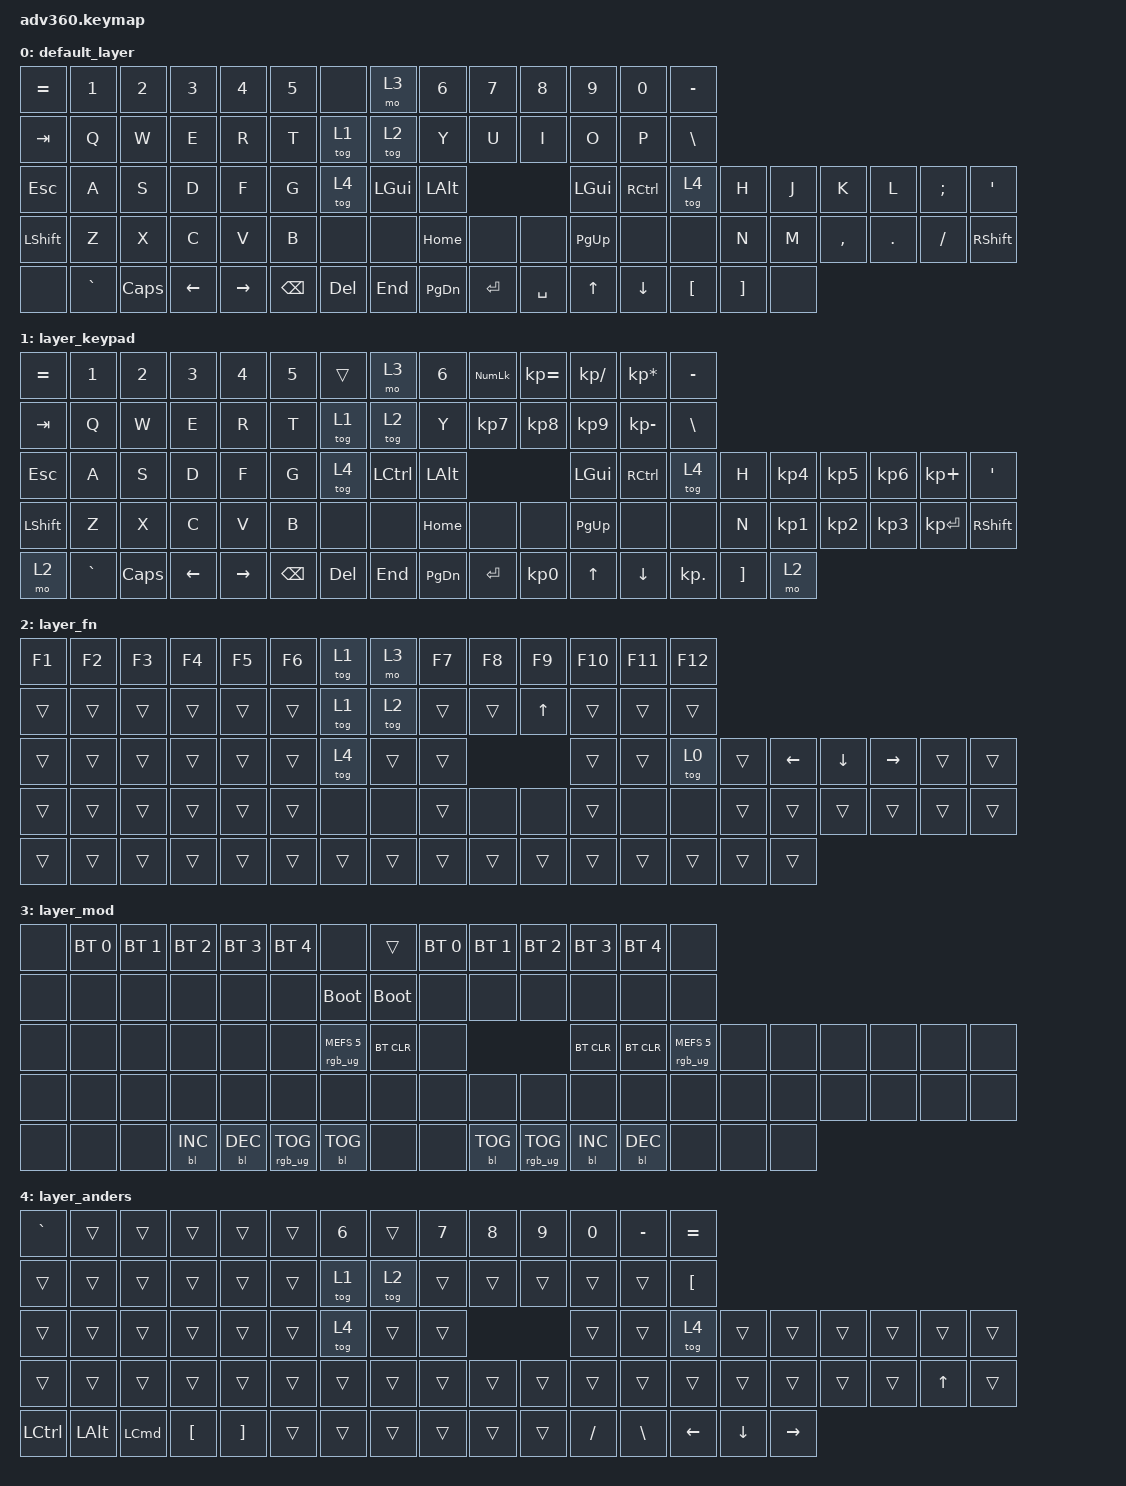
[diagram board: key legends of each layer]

/*
 * Copyright (c) 2020 The ZMK Contributors
 *
 * SPDX-License-Identifier: MIT
 */


/* THIS FILE WAS GENERATED!
 *
 * This file was generated automatically. You may or may not want to
 * edit it directly.
 */

#include <behaviors.dtsi>
#include <dt-bindings/zmk/keys.h>
#include <dt-bindings/zmk/bt.h>
#include <dt-bindings/zmk/rgb.h>
#include <dt-bindings/zmk/backlight.h>

/ {
  behaviors {
    #include "macros.dtsi"

    hm: homerow_mods {
        compatible = "zmk,behavior-hold-tap";
        label = "HOMEROW_MODS";
        #binding-cells = <2>;
        tapping-term-ms = <200>;
        quick_tap_ms = <175>;
        flavor = "tap-preferred";
        bindings = <&kp>, <&kp>;
    };
  };

    keymap {
        compatible = "zmk,keymap";


        default_layer {
            bindings = <
 &kp EQUAL     &kp N1    &kp N2    &kp N3     &kp N4         &kp N5                 &none     &mo 3     &kp N6     &kp N7     &kp N8     &kp N9     &kp N0  &kp MINUS
   &kp TAB      &kp Q     &kp W     &kp E      &kp R          &kp T                &tog 1    &tog 2      &kp Y      &kp U      &kp I      &kp O      &kp P   &kp BSLH
   &kp ESC      &kp A     &kp S     &kp D      &kp F          &kp G                &tog 4  &kp LGUI   &kp LALT                         &kp LGUI  &kp RCTRL     &tog 4     &kp H   &kp J      &kp K    &kp L  &kp SEMI    &kp SQT
 &kp LSHFT      &kp Z     &kp X     &kp C      &kp V          &kp B                 &none     &none   &kp HOME      &none      &none  &kp PG_UP      &none      &none     &kp N   &kp M  &kp COMMA  &kp DOT  &kp FSLH  &kp RSHFT
     &none  &kp GRAVE  &kp CAPS  &kp LEFT  &kp RIGHT  &kp BACKSPACE            &kp DELETE   &kp END  &kp PG_DN  &kp ENTER  &kp SPACE     &kp UP   &kp DOWN   &kp LBKT  &kp RBKT   &none
            >;
        };

        layer_keypad {
            bindings = <
 &kp EQUAL     &kp N1    &kp N2    &kp N3     &kp N4    &kp N5             &trans      &mo 3     &kp N6  &kp KP_NUM  &kp KP_EQUAL  &kp KP_DIVIDE  &kp KP_MULTIPLY   &kp MINUS
   &kp TAB      &kp Q     &kp W     &kp E      &kp R     &kp T             &tog 1     &tog 2      &kp Y   &kp KP_N7     &kp KP_N8      &kp KP_N9     &kp KP_MINUS    &kp BSLH
   &kp ESC      &kp A     &kp S     &kp D      &kp F     &kp G             &tog 4  &kp LCTRL   &kp LALT                                 &kp LGUI        &kp RCTRL      &tog 4     &kp H  &kp KP_N4  &kp KP_N5  &kp KP_N6   &kp KP_PLUS    &kp SQT
 &kp LSHFT      &kp Z     &kp X     &kp C      &kp V     &kp B              &none      &none   &kp HOME       &none         &none      &kp PG_UP            &none       &none     &kp N  &kp KP_N1  &kp KP_N2  &kp KP_N3  &kp KP_ENTER  &kp RSHFT
     &mo 2  &kp GRAVE  &kp CAPS  &kp LEFT  &kp RIGHT  &kp BSPC            &kp DEL    &kp END  &kp PG_DN   &kp ENTER     &kp KP_N0         &kp UP         &kp DOWN  &kp KP_DOT  &kp RBKT      &mo 2
            >;
        };

        layer_fn {
            bindings = <
 &kp F1  &kp F2  &kp F3  &kp F4  &kp F5  &kp F6            &tog 1   &mo 3  &kp F7  &kp F8  &kp F9  &kp F10  &kp F11  &kp F12
 &trans  &trans  &trans  &trans  &trans  &trans            &tog 1  &tog 2  &trans  &trans  &kp UP   &trans   &trans   &trans
 &trans  &trans  &trans  &trans  &trans  &trans            &tog 4  &trans  &trans                   &trans   &trans   &tog 0  &trans  &kp LEFT  &kp DOWN  &kp RIGHT  &trans  &trans
 &trans  &trans  &trans  &trans  &trans  &trans             &none   &none  &trans   &none   &none   &trans    &none    &none  &trans    &trans    &trans     &trans  &trans  &trans
 &trans  &trans  &trans  &trans  &trans  &trans            &trans  &trans  &trans  &trans  &trans   &trans   &trans   &trans  &trans    &trans
            >;
        };

        layer_mod {
            bindings = <
  &none  &bt BT_SEL 0  &bt BT_SEL 1  &bt BT_SEL 2  &bt BT_SEL 3     &bt BT_SEL 4                             &none       &trans  &bt BT_SEL 0  &bt BT_SEL 1     &bt BT_SEL 2  &bt BT_SEL 3  &bt BT_SEL 4                   &none
  &none         &none         &none         &none         &none            &none                       &bootloader  &bootloader         &none         &none            &none         &none         &none                   &none
  &none         &none         &none         &none         &none            &none            &rgb_ug RGB_MEFS_CMD 5   &bt BT_CLR         &none                                   &bt BT_CLR    &bt BT_CLR  &rgb_ug RGB_MEFS_CMD 5   &none   &none   &none   &none   &none   &none
  &none         &none         &none         &none         &none            &none                             &none        &none         &none         &none            &none         &none         &none                   &none   &none   &none   &none   &none   &none   &none
  &none         &none         &none    &bl BL_INC    &bl BL_DEC  &rgb_ug RGB_TOG                        &bl BL_TOG        &none         &none    &bl BL_TOG  &rgb_ug RGB_TOG    &bl BL_INC    &bl BL_DEC                   &none   &none   &none
            >;
        };

        layer_anders {
            bindings = <
        &kp GRAVE        &trans            &trans            &trans             &trans  &trans            &kp NUMBER_6  &trans  &kp NUMBER_7  &kp NUMBER_8  &kp NUMBER_9  &kp NUMBER_0      &kp MINUS         &kp EQUAL
           &trans        &trans            &trans            &trans             &trans  &trans                  &tog 1  &tog 2        &trans        &trans        &trans        &trans         &trans  &kp LEFT_BRACKET
           &trans        &trans            &trans            &trans             &trans  &trans                  &tog 4  &trans        &trans                                    &trans         &trans            &tog 4    &trans     &trans  &trans  &trans  &trans  &trans
           &trans        &trans            &trans            &trans             &trans  &trans                  &trans  &trans        &trans        &trans        &trans        &trans         &trans            &trans    &trans     &trans  &trans  &trans  &kp UP  &trans
 &kp LEFT_CONTROL  &kp LEFT_ALT  &kp LEFT_COMMAND  &kp LEFT_BRACKET  &kp RIGHT_BRACKET  &trans                  &trans  &trans        &trans        &trans        &trans     &kp SLASH  &kp BACKSLASH          &kp LEFT  &kp DOWN  &kp RIGHT
            >;
        };

    };
};
